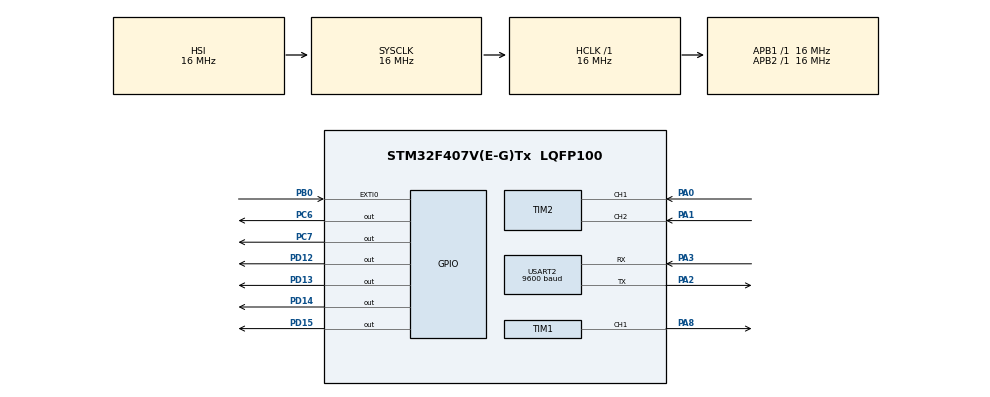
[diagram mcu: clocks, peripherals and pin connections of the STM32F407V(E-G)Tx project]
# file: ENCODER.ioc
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Dma.Request0=USART2_RX
Dma.USART2_RX.0.Direction=DMA_PERIPH_TO_MEMORY
Dma.USART2_RX.0.FIFOMode=DMA_FIFOMODE_DISABLE
Dma.USART2_RX.0.Instance=DMA1_Stream5
Dma.USART2_RX.0.MemDataAlignment=DMA_MDATAALIGN_BYTE
Dma.USART2_RX.0.MemInc=DMA_MINC_ENABLE
Dma.USART2_RX.0.Mode=DMA_NORMAL
Dma.USART2_RX.0.PeriphDataAlignment=DMA_PDATAALIGN_BYTE
Dma.USART2_RX.0.PeriphInc=DMA_PINC_DISABLE
Dma.USART2_RX.0.Priority=DMA_PRIORITY_LOW
Mcu.Family=STM32F4
Mcu.Name=STM32F407V(E-G)Tx
Mcu.Package=LQFP100
NVIC.DMA1_Stream5_IRQn=true\:0\:0\:false\:false\:true\:false\:true\:true
NVIC.EXTI0_IRQn=true\:2\:0\:true\:false\:true\:true\:true\:true
NVIC.PriorityGroup=NVIC_PRIORITYGROUP_4
NVIC.TIM3_IRQn=true\:1\:0\:true\:false\:true\:true\:true\:true
NVIC.USART2_IRQn=true\:0\:0\:false\:false\:true\:true\:true\:true
PA0-WKUP.Signal=S_TIM2_CH1_ETR
PA1.Signal=S_TIM2_CH2
PA13.Mode=Serial_Wire
PA13.Signal=SYS_JTMS-SWDIO
PA14.Mode=Serial_Wire
PA14.Signal=SYS_JTCK-SWCLK
PA2.Mode=Asynchronous
PA2.Signal=USART2_TX
PA3.Mode=Asynchronous
PA3.Signal=USART2_RX
PA8.Signal=S_TIM1_CH1
PB0.GPIO_ModeDefaultEXTI=GPIO_MODE_IT_FALLING
PB0.GPIO_PuPd=GPIO_PULLUP
PB0.Signal=GPXTI0
PC6.GPIO_PuPd=GPIO_PULLUP
PC6.Signal=GPIO_Output
PC7.GPIO_PuPd=GPIO_PULLDOWN
PC7.Signal=GPIO_Output
PD12.Signal=GPIO_Output
PD13.Signal=GPIO_Output
PD14.Signal=GPIO_Output
PD15.Signal=GPIO_Output
PH0-OSC_IN.Mode=HSE-External-Oscillator
PH0-OSC_IN.Signal=RCC_OSC_IN
PH1-OSC_OUT.Mode=HSE-External-Oscillator
PH1-OSC_OUT.Signal=RCC_OSC_OUT
ProjectManager.HeapSize=0x200
ProjectManager.StackSize=0x400
ProjectManager.TargetToolchain=MDK-ARM V5.32
RCC.AHBFreq_Value=16000000
RCC.APB1Freq_Value=16000000
RCC.APB2Freq_Value=16000000
RCC.CortexFreq_Value=16000000
RCC.HSE_VALUE=25000000
RCC.HSI_VALUE=16000000
RCC.LSE_VALUE=32768
RCC.SYSCLKFreq_VALUE=16000000
RCC.VCOOutputFreq_Value=192000000
SH.S_TIM1_CH1.0=TIM1_CH1,PWM Generation1 CH1
SH.S_TIM2_CH1_ETR.0=TIM2_CH1,Encoder_Interface
SH.S_TIM2_CH2.0=TIM2_CH2,Encoder_Interface
TIM1.Channel-PWM\ Generation1\ CH1=TIM_CHANNEL_1
TIM1.Period=999
TIM1.Prescaler=159
TIM1.Pulse-PWM\ Generation1\ CH1=0
TIM2.EncoderMode=TIM_ENCODERMODE_TI12
TIM3.Period=999
TIM3.Prescaler=159
USART2.BaudRate=9600
USART2.VirtualMode=VM_ASYNC
VP_TIM1_VS_ClockSourceINT.Mode=Internal
VP_TIM3_VS_ClockSourceINT.Mode=Internal
board=custom

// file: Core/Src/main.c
/* USER CODE BEGIN Header */
/**
  ******************************************************************************
  * @file           : main.c
  * @brief          : Main program body
  ******************************************************************************
  * @attention
  *
  * Copyright (c) 2023 STMicroelectronics.
  * All rights reserved.
  *
  * This software is licensed under terms that can be found in the LICENSE file
  * in the root directory of this software component.
  * If no LICENSE file comes with this software, it is provided AS-IS.
  *
  ******************************************************************************
  */
/* USER CODE END Header */
#include "main.h"

/* USER CODE BEGIN Includes */
#include "stdlib.h"
#include "string.h"
#include "stdio.h"
#define STX 0x02
#define ETX 0x03

#define SYN 0x05

#define EMER 0x06

#define SET_POINT 0x04

#define KP 0x08
#define KI 0x07
#define KD 0x10

#define START 0x11
#define STOP 0x12

#define VELO_F 0x14
#define VELO_R 0x15

#define LED15 0X16
#define LED14 0X17
#define LED13 0X18
#define LED12 0X19

uint8_t receive[10] = {0}, transmit[10]= {0};

uint8_t msg[35] = {'\0'};
float data_float ;
uint8_t size = 0;

int16_t encoder_cnt = 0;

float speed = 0; //max 230
float speed_set=150;

float encoder=0;

float direct = 0; /*0 : thuan ,1: nghich*/
float state =1; //0:on, 1:off

float Kp=2.5, Ki=1, Kd=0;
float T=1; /*Sample Period*/
float uk, uk_1=0, ek_1=0, ek_2=0, ek=0;
float umax=999;/*Constant*/
float umin=0; /*Constant*/
volatile uint16_t duty=0;
volatile uint8_t transmit_count;
//bien test

/* USER CODE END Includes */

TIM_HandleTypeDef htim1;
TIM_HandleTypeDef htim2;
TIM_HandleTypeDef htim3;

UART_HandleTypeDef huart2;
DMA_HandleTypeDef hdma_usart2_rx;

void SystemClock_Config(void);
static void MX_GPIO_Init(void);
static void MX_DMA_Init(void);
static void MX_TIM1_Init(void);
static void MX_TIM2_Init(void);
static void MX_USART2_UART_Init(void);
static void MX_TIM3_Init(void);
/* USER CODE BEGIN PFP */
float PID_control (float setpoint, float measure)
{
	ek_2=ek_1;
	ek_1=ek;
	ek=setpoint-measure;
	uk_1=uk;
	uk=uk_1+Kp*(ek-ek_1) +Ki*(T/2)*(ek+ek_1)+ (Kd/T)*(ek-2*ek_1+ek_2);
	if (uk>umax) uk=umax;
	if (uk<umin) uk=umin;
	return (uk);
}
void send_data(int CODE, float data)
{
	//transmit[0]='S';
	switch (CODE)
			{
				case VELO_F:
				//transmit[1]='F';
				break;
				case VELO_R:
				//transmit[1]='R';
				break;
			}

	sprintf((char *)msg,"%3.1f",data);
	for(int i=0;i<sizeof(msg);i++)
  {
		if(msg[i]!=0x00)
		{
		transmit[i] = msg[i];
		}
	}

	HAL_UART_Transmit(&huart2, transmit, 8, 1000);

}
int len=0;
int temp =0;
void HAL_UARTEx_RxEventCallback(UART_HandleTypeDef *huart, uint16_t Size)
{

		if(huart->Instance== huart2.Instance)
		{
		uint8_t buffer[10] ={0};
		HAL_UARTEx_ReceiveToIdle_DMA(&huart2, receive, 10);
		size = Size;

		len = strlen((char *)receive);
		int index=0;
		int position =0;
		for (int i=0; i < len; i++)
		{
			 if (receive[i] == ETX)
			{
				index ++;
				if (index == 1)
				{
				position = i;
				break;
				}
			}
		}
		uint8_t data_bytes[4] ={0};
		for (int j=0; j<=position; j++)
		buffer[j]=receive[j];
		if(buffer[0]==STX & buffer[position]==ETX)
		{

			for (int j=0; j<=position-3;j++)
			data_bytes[j]=buffer[j+2];

			data_float = (float)atof((char *)data_bytes);

			switch (buffer[1])
			{
				case SET_POINT:
				{
				if(data_float >0)
				{
					speed_set=data_float;
					direct=0;//forward
					break;
				}
				else
				{
					speed_set=-data_float;
					direct=1;//reverse
					break;
				}
				}
				case START:
				state=0;
				break;
				case STOP:
					__HAL_TIM_SET_COMPARE(&htim2, TIM_CHANNEL_1, 0);
				state=1;
				break;
				case KP:
					Kp=data_float;
				break;
				case KI:
					Ki=data_float;
				break;
				case KD:
					Kd=data_float;
				break;
				case LED12:
				{
				if(data_float == 0)
				{
					HAL_GPIO_WritePin(GPIOD, GPIO_PIN_12, 0);
					break;
				}
				else
				{
					HAL_GPIO_WritePin(GPIOD, GPIO_PIN_12, 1);
					break;
				}
				}
				case LED13:
				{
				if(data_float == 0)
				{
					HAL_GPIO_WritePin(GPIOD, GPIO_PIN_13, 0);
					break;
				}
				else
				{
					HAL_GPIO_WritePin(GPIOD, GPIO_PIN_13, 1);
					break;
				}
				}
				case LED14:
				{
				if(data_float == 0)
				{
					HAL_GPIO_WritePin(GPIOD, GPIO_PIN_14, 0);
					break;
				}
				else
				{
					HAL_GPIO_WritePin(GPIOD, GPIO_PIN_14, 1);
					break;
				}
				}
				case LED15:
				{
				if(data_float == 0)
				{
					HAL_GPIO_WritePin(GPIOD, GPIO_PIN_15, 0);
					break;
				}
				else
				{
					HAL_GPIO_WritePin(GPIOD, GPIO_PIN_15, 1);
					break;
				}
				}
			}
		}
		if (temp%2==0)
		{
			HAL_UART_Transmit(&huart2, buffer, 8, 1000);
		}
		temp= ~temp;
		}

}
void HAL_TIM_PeriodElapsedCallback(TIM_HandleTypeDef *htim)
{
  if(htim->Instance== TIM3)
	{
		encoder_cnt= TIM2->CNT;

		encoder=(float)((encoder_cnt*60)/(4*374));
		if (encoder_cnt>=0)
		{
			speed=encoder;
			send_data(VELO_F,encoder);
		}
		else if(encoder_cnt<0)
		{
			speed=-encoder;
			send_data(VELO_R,encoder);
		}

		if (!state)
		{
			duty=PID_control (speed_set, speed);
			if(direct)
			{
				HAL_GPIO_WritePin(GPIOC, GPIO_PIN_6,GPIO_PIN_RESET);
				HAL_GPIO_WritePin(GPIOC, GPIO_PIN_7,GPIO_PIN_SET);
			}
			else
			{
				HAL_GPIO_WritePin(GPIOC, GPIO_PIN_7,GPIO_PIN_RESET);
				HAL_GPIO_WritePin(GPIOC, GPIO_PIN_6,GPIO_PIN_SET);
			}
		__HAL_TIM_SET_COMPARE(&htim1, TIM_CHANNEL_1, duty);
		}
		else
		{
			__HAL_TIM_SET_COMPARE(&htim1, TIM_CHANNEL_1, 0);
		}

		TIM2->CNT=0;
	}
}

uint8_t cnt= 0;

void HAL_GPIO_EXTI_Callback(uint16_t GPIO_Pin)
{
	cnt++;
	state = 1;
	uint8_t buffer[10] ={0};
	buffer[0] = EMER;
	HAL_UART_Transmit(&huart2, buffer, 8, 1000);
  //Chong rung phim
	for(int i = 100000; i>0; i--);

}

/* USER CODE END PFP */

int main(void)
{

  /* MCU Configuration--------------------------------------------------------*/

  /* Reset of all peripherals, Initializes the Flash interface and the Systick. */
  HAL_Init();

  /* Configure the system clock */
  SystemClock_Config();

  /* Initialize all configured peripherals */
  MX_GPIO_Init();
  MX_DMA_Init();
  MX_TIM1_Init();
  MX_TIM2_Init();
  MX_USART2_UART_Init();
  MX_TIM3_Init();
  /* USER CODE BEGIN 2 */

	HAL_UARTEx_ReceiveToIdle_DMA(&huart2, receive, 10);
   __HAL_DMA_DISABLE_IT(&hdma_usart2_rx, DMA_IT_HT);

	HAL_TIM_Encoder_Start(&htim2,TIM_CHANNEL_ALL);
	HAL_TIM_Base_Start_IT(&htim3);
	HAL_TIM_PWM_Start(&htim1, TIM_CHANNEL_1);
  /* USER CODE END 2 */

  /* Infinite loop */
  while (1)
  {

  }
}

void SystemClock_Config(void)
{
  RCC_OscInitTypeDef RCC_OscInitStruct = {0};
  RCC_ClkInitTypeDef RCC_ClkInitStruct = {0};

  /** Configure the main internal regulator output voltage
  */
  __HAL_RCC_PWR_CLK_ENABLE();
  __HAL_PWR_VOLTAGESCALING_CONFIG(PWR_REGULATOR_VOLTAGE_SCALE1);

  /** Initializes the RCC Oscillators according to the specified parameters
  * in the RCC_OscInitTypeDef structure.
  */
  RCC_OscInitStruct.OscillatorType = RCC_OSCILLATORTYPE_HSI;
  RCC_OscInitStruct.HSIState = RCC_HSI_ON;
  RCC_OscInitStruct.HSICalibrationValue = RCC_HSICALIBRATION_DEFAULT;
  RCC_OscInitStruct.PLL.PLLState = RCC_PLL_NONE;
  if (HAL_RCC_OscConfig(&RCC_OscInitStruct) != HAL_OK)
  {
    Error_Handler();
  }

  /** Initializes the CPU, AHB and APB buses clocks
  */
  RCC_ClkInitStruct.ClockType = RCC_CLOCKTYPE_HCLK|RCC_CLOCKTYPE_SYSCLK
                              |RCC_CLOCKTYPE_PCLK1|RCC_CLOCKTYPE_PCLK2;
  RCC_ClkInitStruct.SYSCLKSource = RCC_SYSCLKSOURCE_HSI;
  RCC_ClkInitStruct.AHBCLKDivider = RCC_SYSCLK_DIV1;
  RCC_ClkInitStruct.APB1CLKDivider = RCC_HCLK_DIV1;
  RCC_ClkInitStruct.APB2CLKDivider = RCC_HCLK_DIV1;

  if (HAL_RCC_ClockConfig(&RCC_ClkInitStruct, FLASH_LATENCY_0) != HAL_OK)
  {
    Error_Handler();
  }
}

static void MX_TIM1_Init(void)
{

  TIM_ClockConfigTypeDef sClockSourceConfig = {0};
  TIM_MasterConfigTypeDef sMasterConfig = {0};
  TIM_OC_InitTypeDef sConfigOC = {0};
  TIM_BreakDeadTimeConfigTypeDef sBreakDeadTimeConfig = {0};

  htim1.Instance = TIM1;
  htim1.Init.Prescaler = 159;
  htim1.Init.CounterMode = TIM_COUNTERMODE_UP;
  htim1.Init.Period = 999;
  htim1.Init.ClockDivision = TIM_CLOCKDIVISION_DIV1;
  htim1.Init.RepetitionCounter = 0;
  htim1.Init.AutoReloadPreload = TIM_AUTORELOAD_PRELOAD_DISABLE;
  if (HAL_TIM_Base_Init(&htim1) != HAL_OK)
  {
    Error_Handler();
  }
  sClockSourceConfig.ClockSource = TIM_CLOCKSOURCE_INTERNAL;
  if (HAL_TIM_ConfigClockSource(&htim1, &sClockSourceConfig) != HAL_OK)
  {
    Error_Handler();
  }
  if (HAL_TIM_PWM_Init(&htim1) != HAL_OK)
  {
    Error_Handler();
  }
  sMasterConfig.MasterOutputTrigger = TIM_TRGO_RESET;
  sMasterConfig.MasterSlaveMode = TIM_MASTERSLAVEMODE_DISABLE;
  if (HAL_TIMEx_MasterConfigSynchronization(&htim1, &sMasterConfig) != HAL_OK)
  {
    Error_Handler();
  }
  sConfigOC.OCMode = TIM_OCMODE_PWM1;
  sConfigOC.Pulse = 0;
  sConfigOC.OCPolarity = TIM_OCPOLARITY_HIGH;
  sConfigOC.OCNPolarity = TIM_OCNPOLARITY_HIGH;
  sConfigOC.OCFastMode = TIM_OCFAST_DISABLE;
  sConfigOC.OCIdleState = TIM_OCIDLESTATE_RESET;
  sConfigOC.OCNIdleState = TIM_OCNIDLESTATE_RESET;
  if (HAL_TIM_PWM_ConfigChannel(&htim1, &sConfigOC, TIM_CHANNEL_1) != HAL_OK)
  {
    Error_Handler();
  }
  sBreakDeadTimeConfig.OffStateRunMode = TIM_OSSR_DISABLE;
  sBreakDeadTimeConfig.OffStateIDLEMode = TIM_OSSI_DISABLE;
  sBreakDeadTimeConfig.LockLevel = TIM_LOCKLEVEL_OFF;
  sBreakDeadTimeConfig.DeadTime = 0;
  sBreakDeadTimeConfig.BreakState = TIM_BREAK_DISABLE;
  sBreakDeadTimeConfig.BreakPolarity = TIM_BREAKPOLARITY_HIGH;
  sBreakDeadTimeConfig.AutomaticOutput = TIM_AUTOMATICOUTPUT_DISABLE;
  if (HAL_TIMEx_ConfigBreakDeadTime(&htim1, &sBreakDeadTimeConfig) != HAL_OK)
  {
    Error_Handler();
  }
  HAL_TIM_MspPostInit(&htim1);

}

static void MX_TIM2_Init(void)
{

  TIM_Encoder_InitTypeDef sConfig = {0};
  TIM_MasterConfigTypeDef sMasterConfig = {0};

  htim2.Instance = TIM2;
  htim2.Init.Prescaler = 0;
  htim2.Init.CounterMode = TIM_COUNTERMODE_UP;
  htim2.Init.Period = 4294967295;
  htim2.Init.ClockDivision = TIM_CLOCKDIVISION_DIV1;
  htim2.Init.AutoReloadPreload = TIM_AUTORELOAD_PRELOAD_DISABLE;
  sConfig.EncoderMode = TIM_ENCODERMODE_TI12;
  sConfig.IC1Polarity = TIM_ICPOLARITY_RISING;
  sConfig.IC1Selection = TIM_ICSELECTION_DIRECTTI;
  sConfig.IC1Prescaler = TIM_ICPSC_DIV1;
  sConfig.IC1Filter = 0;
  sConfig.IC2Polarity = TIM_ICPOLARITY_RISING;
  sConfig.IC2Selection = TIM_ICSELECTION_DIRECTTI;
  sConfig.IC2Prescaler = TIM_ICPSC_DIV1;
  sConfig.IC2Filter = 0;
  if (HAL_TIM_Encoder_Init(&htim2, &sConfig) != HAL_OK)
  {
    Error_Handler();
  }
  sMasterConfig.MasterOutputTrigger = TIM_TRGO_RESET;
  sMasterConfig.MasterSlaveMode = TIM_MASTERSLAVEMODE_DISABLE;
  if (HAL_TIMEx_MasterConfigSynchronization(&htim2, &sMasterConfig) != HAL_OK)
  {
    Error_Handler();
  }

}

static void MX_TIM3_Init(void)
{

  TIM_ClockConfigTypeDef sClockSourceConfig = {0};
  TIM_MasterConfigTypeDef sMasterConfig = {0};

  htim3.Instance = TIM3;
  htim3.Init.Prescaler = 1599;
  htim3.Init.CounterMode = TIM_COUNTERMODE_UP;
  htim3.Init.Period = 9999;
  htim3.Init.ClockDivision = TIM_CLOCKDIVISION_DIV1;
  htim3.Init.AutoReloadPreload = TIM_AUTORELOAD_PRELOAD_DISABLE;
  if (HAL_TIM_Base_Init(&htim3) != HAL_OK)
  {
    Error_Handler();
  }
  sClockSourceConfig.ClockSource = TIM_CLOCKSOURCE_INTERNAL;
  if (HAL_TIM_ConfigClockSource(&htim3, &sClockSourceConfig) != HAL_OK)
  {
    Error_Handler();
  }
  sMasterConfig.MasterOutputTrigger = TIM_TRGO_RESET;
  sMasterConfig.MasterSlaveMode = TIM_MASTERSLAVEMODE_DISABLE;
  if (HAL_TIMEx_MasterConfigSynchronization(&htim3, &sMasterConfig) != HAL_OK)
  {
    Error_Handler();
  }

}

static void MX_USART2_UART_Init(void)
{

  huart2.Instance = USART2;
  huart2.Init.BaudRate = 9600;
  huart2.Init.WordLength = UART_WORDLENGTH_8B;
  huart2.Init.StopBits = UART_STOPBITS_1;
  huart2.Init.Parity = UART_PARITY_NONE;
  huart2.Init.Mode = UART_MODE_TX_RX;
  huart2.Init.HwFlowCtl = UART_HWCONTROL_NONE;
  huart2.Init.OverSampling = UART_OVERSAMPLING_16;
  if (HAL_UART_Init(&huart2) != HAL_OK)
  {
    Error_Handler();
  }

}

static void MX_DMA_Init(void)
{

  /* DMA controller clock enable */
  __HAL_RCC_DMA1_CLK_ENABLE();

  /* DMA interrupt init */
  /* DMA1_Stream5_IRQn interrupt configuration */
  HAL_NVIC_SetPriority(DMA1_Stream5_IRQn, 0, 0);
  HAL_NVIC_EnableIRQ(DMA1_Stream5_IRQn);

}

static void MX_GPIO_Init(void)
{
  GPIO_InitTypeDef GPIO_InitStruct = {0};

  /* GPIO Ports Clock Enable */
  __HAL_RCC_GPIOH_CLK_ENABLE();
  __HAL_RCC_GPIOA_CLK_ENABLE();
  __HAL_RCC_GPIOB_CLK_ENABLE();
  __HAL_RCC_GPIOD_CLK_ENABLE();
  __HAL_RCC_GPIOC_CLK_ENABLE();

  /*Configure GPIO pin Output Level */
  HAL_GPIO_WritePin(GPIOD, GPIO_PIN_12|GPIO_PIN_13|GPIO_PIN_14|GPIO_PIN_15, GPIO_PIN_RESET);

  /*Configure GPIO pin Output Level */
  HAL_GPIO_WritePin(GPIOC, GPIO_PIN_6|GPIO_PIN_7, GPIO_PIN_RESET);

  /*Configure GPIO pin : PB0 */
  GPIO_InitStruct.Pin = GPIO_PIN_0;
  GPIO_InitStruct.Mode = GPIO_MODE_IT_FALLING;
  GPIO_InitStruct.Pull = GPIO_PULLUP;
  HAL_GPIO_Init(GPIOB, &GPIO_InitStruct);

  /*Configure GPIO pins : PD12 PD13 PD14 PD15 */
  GPIO_InitStruct.Pin = GPIO_PIN_12|GPIO_PIN_13|GPIO_PIN_14|GPIO_PIN_15;
  GPIO_InitStruct.Mode = GPIO_MODE_OUTPUT_PP;
  GPIO_InitStruct.Pull = GPIO_NOPULL;
  GPIO_InitStruct.Speed = GPIO_SPEED_FREQ_LOW;
  HAL_GPIO_Init(GPIOD, &GPIO_InitStruct);

  /*Configure GPIO pin : PC6 */
  GPIO_InitStruct.Pin = GPIO_PIN_6;
  GPIO_InitStruct.Mode = GPIO_MODE_OUTPUT_PP;
  GPIO_InitStruct.Pull = GPIO_PULLUP;
  GPIO_InitStruct.Speed = GPIO_SPEED_FREQ_LOW;
  HAL_GPIO_Init(GPIOC, &GPIO_InitStruct);

  /*Configure GPIO pin : PC7 */
  GPIO_InitStruct.Pin = GPIO_PIN_7;
  GPIO_InitStruct.Mode = GPIO_MODE_OUTPUT_PP;
  GPIO_InitStruct.Pull = GPIO_PULLDOWN;
  GPIO_InitStruct.Speed = GPIO_SPEED_FREQ_LOW;
  HAL_GPIO_Init(GPIOC, &GPIO_InitStruct);

  /* EXTI interrupt init*/
  HAL_NVIC_SetPriority(EXTI0_IRQn, 2, 0);
  HAL_NVIC_EnableIRQ(EXTI0_IRQn);

}

void Error_Handler(void)
{
  __disable_irq();
  while (1)
  {
  }
}
